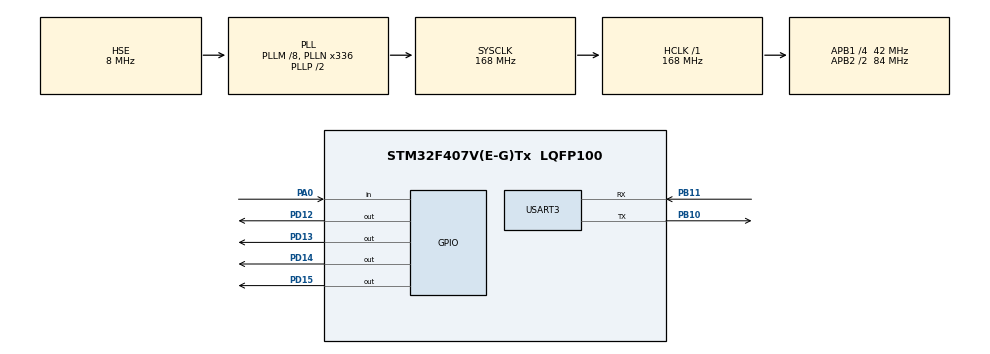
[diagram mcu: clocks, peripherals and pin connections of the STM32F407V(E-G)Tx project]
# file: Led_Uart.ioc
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Mcu.Family=STM32F4
Mcu.Name=STM32F407V(E-G)Tx
Mcu.Package=LQFP100
NVIC.PriorityGroup=NVIC_PRIORITYGROUP_0
PA0-WKUP.Signal=GPIO_Input
PB10.Mode=Asynchronous
PB10.Signal=USART3_TX
PB11.Mode=Asynchronous
PB11.Signal=USART3_RX
PC14-OSC32_IN.Mode=LSE-External-Oscillator
PC14-OSC32_IN.Signal=RCC_OSC32_IN
PC15-OSC32_OUT.Mode=LSE-External-Oscillator
PC15-OSC32_OUT.Signal=RCC_OSC32_OUT
PD12.Signal=GPIO_Output
PD13.Signal=GPIO_Output
PD14.Signal=GPIO_Output
PD15.Signal=GPIO_Output
PH0-OSC_IN.Mode=HSE-External-Oscillator
PH0-OSC_IN.Signal=RCC_OSC_IN
PH1-OSC_OUT.Mode=HSE-External-Oscillator
PH1-OSC_OUT.Signal=RCC_OSC_OUT
ProjectManager.HeapSize=0x200
ProjectManager.StackSize=0x400
ProjectManager.TargetToolchain=STM32CubeIDE
RCC.48MHZClocksFreq_Value=48000000
RCC.AHBFreq_Value=168000000
RCC.APB1CLKDivider=RCC_HCLK_DIV4
RCC.APB1Freq_Value=42000000
RCC.APB1TimFreq_Value=84000000
RCC.APB2CLKDivider=RCC_HCLK_DIV2
RCC.APB2Freq_Value=84000000
RCC.APB2TimFreq_Value=168000000
RCC.CortexFreq_Value=168000000
RCC.HCLKFreq_Value=168000000
RCC.HSE_VALUE=8000000
RCC.HSI_VALUE=16000000
RCC.PLLM=8
RCC.PLLN=336
RCC.PLLQ=7
RCC.PLLSourceVirtual=RCC_PLLSOURCE_HSE
RCC.SYSCLKFreq_VALUE=168000000
RCC.SYSCLKSource=RCC_SYSCLKSOURCE_PLLCLK
RCC.VCOOutputFreq_Value=336000000
USART3.VirtualMode=VM_ASYNC
board=STM32F407G-DISC1

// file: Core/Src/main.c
/* USER CODE BEGIN Header */
/**
  ******************************************************************************
  * @file           : main.c
  * @brief          : Main program body
  ******************************************************************************
  * @attention
  *
  * Copyright (c) 2023 STMicroelectronics.
  * All rights reserved.
  *
  * This software is licensed under terms that can be found in the LICENSE file
  * in the root directory of this software component.
  * If no LICENSE file comes with this software, it is provided AS-IS.
  *
  ******************************************************************************
  */
/* USER CODE END Header */
#include "main.h"

/* USER CODE BEGIN Includes */
#include <stdio.h>
/* USER CODE END Includes */

UART_HandleTypeDef huart3;

void SystemClock_Config(void);
static void MX_GPIO_Init(void);
static void MX_USART3_UART_Init(void);

/* USER CODE BEGIN 0 */
uint8_t Tx_Buffer[20]="Data Tranmit\r\n";
uint8_t Led_12[20]="Green Led On\r\n";
uint8_t msg[20] = "Led Off \r\n";
uint8_t Led_13[20]="Orange Led On\r\n";
uint8_t Led_14[20]="Red Led On\r\n";
uint8_t Led_15[20]="Blue Led On\r\n";
uint16_t flag =0 ,status =0 ;
/* USER CODE END 0 */

int main(void)
{

  /* MCU Configuration--------------------------------------------------------*/

  /* Reset of all peripherals, Initializes the Flash interface and the Systick. */
  HAL_Init();

  /* Configure the system clock */
  SystemClock_Config();

  /* Initialize all configured peripherals */
  MX_GPIO_Init();
  MX_USART3_UART_Init();

  /* Infinite loop */
	while (1) {

    /* USER CODE BEGIN 3 */
		status = HAL_GPIO_ReadPin(GPIOA, GPIO_PIN_0);
//		if(status == SET)
//		{
//			HAL_GPIO_WritePin(GPIOD, GPIO_PIN_12, 1);
//		}
//		else{
//			HAL_GPIO_WritePin(GPIOD, GPIO_PIN_12, 0);
//		}

		if(status == SET){
//		if (flag == 0)
//		{
			HAL_GPIO_WritePin(GPIOD, GPIO_PIN_12,1);
			HAL_UART_Transmit(&huart3, Led_12, sizeof(Led_12), 10);
			HAL_Delay(1000);
			HAL_GPIO_WritePin(GPIOD, GPIO_PIN_12,0);
			HAL_UART_Transmit(&huart3, msg, sizeof(msg),1000);
			HAL_Delay(1000);
//			flag = 1;
//		}
		}
		if(status == SET)
		{
//		if (flag == 1) {
			HAL_GPIO_WritePin(GPIOD, GPIO_PIN_13, 1);
			HAL_UART_Transmit(&huart3, Led_13, sizeof(Led_13), 10);
			HAL_Delay(1000);
			HAL_GPIO_WritePin(GPIOD, GPIO_PIN_13, 0);
			HAL_UART_Transmit(&huart3, msg, sizeof(msg), 1000);
			HAL_Delay(1000);
//			flag = 2;
//		}
		}

		if(status == SET)
		{
//		if (flag == 2) {
			HAL_GPIO_WritePin(GPIOD, GPIO_PIN_14, 1);
			HAL_UART_Transmit(&huart3, Led_14, sizeof(Led_14), 10);
			HAL_Delay(1000);
			HAL_GPIO_WritePin(GPIOD, GPIO_PIN_14, 0);
			HAL_UART_Transmit(&huart3, msg, sizeof(msg), 1000);
			HAL_Delay(1000);
//			flag = 3;
//		}
		}

		if(status == RESET)
		{
//		if (flag == 3) {
			HAL_GPIO_WritePin(GPIOD, GPIO_PIN_15, 1);
			HAL_UART_Transmit(&huart3, Led_15, sizeof(Led_15), 10);
			HAL_Delay(1000);
			HAL_GPIO_WritePin(GPIOD, GPIO_PIN_15, 0);
			HAL_UART_Transmit(&huart3, msg, sizeof(msg), 1000);
			HAL_Delay(1000);
//			flag = 0;
//		}
		}

//		flag = HAL_GPIO_ReadPin(GPIOA, GPIO_PIN_0);
//		if( flag == SET)
//		{
//		HAL_UART_Transmit(&huart3, Tx_Buffer, sizeof(Tx_Buffer), 500);
//		HAL_Delay(500);
//		}
	}
  /* USER CODE END 3 */
}

void SystemClock_Config(void)
{
  RCC_OscInitTypeDef RCC_OscInitStruct = {0};
  RCC_ClkInitTypeDef RCC_ClkInitStruct = {0};

  /** Configure the main internal regulator output voltage
  */
  __HAL_RCC_PWR_CLK_ENABLE();
  __HAL_PWR_VOLTAGESCALING_CONFIG(PWR_REGULATOR_VOLTAGE_SCALE1);

  /** Initializes the RCC Oscillators according to the specified parameters
  * in the RCC_OscInitTypeDef structure.
  */
  RCC_OscInitStruct.OscillatorType = RCC_OSCILLATORTYPE_HSE;
  RCC_OscInitStruct.HSEState = RCC_HSE_ON;
  RCC_OscInitStruct.PLL.PLLState = RCC_PLL_ON;
  RCC_OscInitStruct.PLL.PLLSource = RCC_PLLSOURCE_HSE;
  RCC_OscInitStruct.PLL.PLLM = 8;
  RCC_OscInitStruct.PLL.PLLN = 336;
  RCC_OscInitStruct.PLL.PLLP = RCC_PLLP_DIV2;
  RCC_OscInitStruct.PLL.PLLQ = 7;
  if (HAL_RCC_OscConfig(&RCC_OscInitStruct) != HAL_OK)
  {
    Error_Handler();
  }

  /** Initializes the CPU, AHB and APB buses clocks
  */
  RCC_ClkInitStruct.ClockType = RCC_CLOCKTYPE_HCLK|RCC_CLOCKTYPE_SYSCLK
                              |RCC_CLOCKTYPE_PCLK1|RCC_CLOCKTYPE_PCLK2;
  RCC_ClkInitStruct.SYSCLKSource = RCC_SYSCLKSOURCE_PLLCLK;
  RCC_ClkInitStruct.AHBCLKDivider = RCC_SYSCLK_DIV1;
  RCC_ClkInitStruct.APB1CLKDivider = RCC_HCLK_DIV4;
  RCC_ClkInitStruct.APB2CLKDivider = RCC_HCLK_DIV2;

  if (HAL_RCC_ClockConfig(&RCC_ClkInitStruct, FLASH_LATENCY_5) != HAL_OK)
  {
    Error_Handler();
  }
}

static void MX_USART3_UART_Init(void)
{

  huart3.Instance = USART3;
  huart3.Init.BaudRate = 115200;
  huart3.Init.WordLength = UART_WORDLENGTH_8B;
  huart3.Init.StopBits = UART_STOPBITS_1;
  huart3.Init.Parity = UART_PARITY_NONE;
  huart3.Init.Mode = UART_MODE_TX_RX;
  huart3.Init.HwFlowCtl = UART_HWCONTROL_NONE;
  huart3.Init.OverSampling = UART_OVERSAMPLING_16;
  if (HAL_UART_Init(&huart3) != HAL_OK)
  {
    Error_Handler();
  }

}

static void MX_GPIO_Init(void)
{
  GPIO_InitTypeDef GPIO_InitStruct = {0};

  /* GPIO Ports Clock Enable */
  __HAL_RCC_GPIOC_CLK_ENABLE();
  __HAL_RCC_GPIOH_CLK_ENABLE();
  __HAL_RCC_GPIOA_CLK_ENABLE();
  __HAL_RCC_GPIOB_CLK_ENABLE();
  __HAL_RCC_GPIOD_CLK_ENABLE();

  /*Configure GPIO pin Output Level */
  HAL_GPIO_WritePin(GPIOD, GPIO_PIN_12|GPIO_PIN_13|GPIO_PIN_14|GPIO_PIN_15, GPIO_PIN_RESET);

  /*Configure GPIO pin : PA0 */
  GPIO_InitStruct.Pin = GPIO_PIN_0;
  GPIO_InitStruct.Mode = GPIO_MODE_INPUT;
  GPIO_InitStruct.Pull = GPIO_NOPULL;
  HAL_GPIO_Init(GPIOA, &GPIO_InitStruct);

  /*Configure GPIO pins : PD12 PD13 PD14 PD15 */
  GPIO_InitStruct.Pin = GPIO_PIN_12|GPIO_PIN_13|GPIO_PIN_14|GPIO_PIN_15;
  GPIO_InitStruct.Mode = GPIO_MODE_OUTPUT_PP;
  GPIO_InitStruct.Pull = GPIO_NOPULL;
  GPIO_InitStruct.Speed = GPIO_SPEED_FREQ_LOW;
  HAL_GPIO_Init(GPIOD, &GPIO_InitStruct);

}

void Error_Handler(void)
{
  __disable_irq();
  while (1)
  {
  }
}
